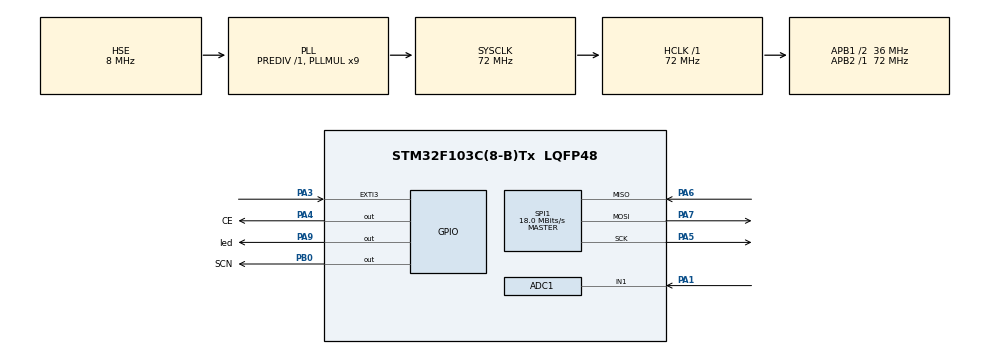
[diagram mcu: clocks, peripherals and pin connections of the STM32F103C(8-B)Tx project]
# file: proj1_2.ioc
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ADC1.Channel-0\#ChannelRegularConversion=ADC_CHANNEL_1
ADC1.NbrOfConversionFlag=1
ADC1.master=1
Mcu.Family=STM32F1
Mcu.Name=STM32F103C(8-B)Tx
Mcu.Package=LQFP48
NVIC.EXTI3_IRQn=true\:0\:0\:false\:false\:true\:true\:true
NVIC.PriorityGroup=NVIC_PRIORITYGROUP_4
PA1.Signal=ADCx_IN1
PA13.Mode=Trace_Asynchronous_SW
PA13.Signal=SYS_JTMS-SWDIO
PA14.Mode=Trace_Asynchronous_SW
PA14.Signal=SYS_JTCK-SWCLK
PA3.GPIO_ModeDefaultEXTI=GPIO_MODE_IT_FALLING
PA3.Signal=GPXTI3
PA4.GPIO_Label=CE
PA4.Signal=GPIO_Output
PA5.Mode=Full_Duplex_Master
PA5.Signal=SPI1_SCK
PA6.Mode=Full_Duplex_Master
PA6.Signal=SPI1_MISO
PA7.Mode=Full_Duplex_Master
PA7.Signal=SPI1_MOSI
PA9.GPIO_Label=led
PA9.Signal=GPIO_Output
PB0.GPIO_Label=SCN
PB0.Signal=GPIO_Output
PB3.Mode=Trace_Asynchronous_SW
PB3.Signal=SYS_JTDO-TRACESWO
PD0-OSC_IN.Mode=HSE-External-Oscillator
PD0-OSC_IN.Signal=RCC_OSC_IN
PD1-OSC_OUT.Mode=HSE-External-Oscillator
PD1-OSC_OUT.Signal=RCC_OSC_OUT
ProjectManager.HeapSize=0x200
ProjectManager.StackSize=0x400
ProjectManager.TargetToolchain=STM32CubeIDE
RCC.ADCPresc=RCC_ADCPCLK2_DIV6
RCC.AHBFreq_Value=72000000
RCC.APB1CLKDivider=RCC_HCLK_DIV2
RCC.APB1Freq_Value=36000000
RCC.APB1TimFreq_Value=72000000
RCC.APB2Freq_Value=72000000
RCC.APB2TimFreq_Value=72000000
RCC.HCLKFreq_Value=72000000
RCC.PLLMUL=RCC_PLL_MUL9
RCC.PLLSourceVirtual=RCC_PLLSOURCE_HSE
RCC.SYSCLKFreq_VALUE=72000000
RCC.SYSCLKSource=RCC_SYSCLKSOURCE_PLLCLK
RCC.USBFreq_Value=72000000
SH.ADCx_IN1.0=ADC1_IN1,IN1
SPI1.BaudRatePrescaler=SPI_BAUDRATEPRESCALER_4
SPI1.CalculateBaudRate=18.0 MBits/s
SPI1.Direction=SPI_DIRECTION_2LINES
SPI1.Mode=SPI_MODE_MASTER
SPI1.VirtualType=VM_MASTER
board=custom

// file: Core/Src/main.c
/* USER CODE BEGIN Header */
/**
  ******************************************************************************
  * @file           : main.c
  * @brief          : Main program body
  ******************************************************************************
  * @attention
  *
  * <h2><center>&copy; Copyright (c) 2024 STMicroelectronics.
  * All rights reserved.</center></h2>
  *
  * This software component is licensed by ST under BSD 3-Clause license,
  * the "License"; You may not use this file except in compliance with the
  * License. You may obtain a copy of the License at:
  *                        opensource.org/licenses/BSD-3-Clause
  *
  ******************************************************************************
  */
/* USER CODE END Header */
#include "main.h"
#include "adc.h"
#include "spi.h"
#include "gpio.h"

/* USER CODE BEGIN Includes */
#include "nrf24l01p.h"

/* USER CODE END Includes */

/* USER CODE BEGIN PD */
#define TRANSMITTER

/* USER CODE END PD */

/* USER CODE BEGIN PV */
//uint8_t rx_data[NRF24L01P_PAYLOAD_LENGTH] = {0};

uint8_t tx_data[NRF24L01P_PAYLOAD_LENGTH] = {0,0,0,0,0,0,0,0};
uint8_t temp = 0;

/* USER CODE END PV */

void SystemClock_Config(void);
/* USER CODE BEGIN PFP */
void HAL_GPIO_EXTI_Callback(uint16_t GPIO_Pin);
/* USER CODE END PFP */

int main(void)
{

  /* MCU Configuration--------------------------------------------------------*/

  /* Reset of all peripherals, Initializes the Flash interface and the Systick. */
  HAL_Init();

  /* Configure the system clock */
  SystemClock_Config();

  /* Initialize all configured peripherals */
  MX_GPIO_Init();
  MX_ADC1_Init();
  MX_SPI1_Init();
  /* USER CODE BEGIN 2 */

  nrf24l01p_tx_init(2500, _1Mbps);

  /* USER CODE END 2 */

  /* Infinite loop */
  while (1)
  {

    /* USER CODE BEGIN 3 */
      HAL_ADC_Start(&hadc1);
      HAL_ADC_PollForConversion(&hadc1, 1000);
      temp = HAL_ADC_GetValue(&hadc1);
      HAL_Delay(100);

      tx_data[0] = temp;
	  nrf24l01p_tx_transmit(tx_data);
	  HAL_GPIO_TogglePin(GPIOA, GPIO_PIN_9);
	  HAL_Delay(100);
  }
  /* USER CODE END 3 */
}

void SystemClock_Config(void)
{
  RCC_OscInitTypeDef RCC_OscInitStruct = {0};
  RCC_ClkInitTypeDef RCC_ClkInitStruct = {0};
  RCC_PeriphCLKInitTypeDef PeriphClkInit = {0};

  /** Initializes the RCC Oscillators according to the specified parameters
  * in the RCC_OscInitTypeDef structure.
  */
  RCC_OscInitStruct.OscillatorType = RCC_OSCILLATORTYPE_HSE;
  RCC_OscInitStruct.HSEState = RCC_HSE_ON;
  RCC_OscInitStruct.HSEPredivValue = RCC_HSE_PREDIV_DIV1;
  RCC_OscInitStruct.HSIState = RCC_HSI_ON;
  RCC_OscInitStruct.PLL.PLLState = RCC_PLL_ON;
  RCC_OscInitStruct.PLL.PLLSource = RCC_PLLSOURCE_HSE;
  RCC_OscInitStruct.PLL.PLLMUL = RCC_PLL_MUL9;
  if (HAL_RCC_OscConfig(&RCC_OscInitStruct) != HAL_OK)
  {
    Error_Handler();
  }
  /** Initializes the CPU, AHB and APB buses clocks
  */
  RCC_ClkInitStruct.ClockType = RCC_CLOCKTYPE_HCLK|RCC_CLOCKTYPE_SYSCLK
                              |RCC_CLOCKTYPE_PCLK1|RCC_CLOCKTYPE_PCLK2;
  RCC_ClkInitStruct.SYSCLKSource = RCC_SYSCLKSOURCE_PLLCLK;
  RCC_ClkInitStruct.AHBCLKDivider = RCC_SYSCLK_DIV1;
  RCC_ClkInitStruct.APB1CLKDivider = RCC_HCLK_DIV2;
  RCC_ClkInitStruct.APB2CLKDivider = RCC_HCLK_DIV1;

  if (HAL_RCC_ClockConfig(&RCC_ClkInitStruct, FLASH_LATENCY_2) != HAL_OK)
  {
    Error_Handler();
  }
  PeriphClkInit.PeriphClockSelection = RCC_PERIPHCLK_ADC;
  PeriphClkInit.AdcClockSelection = RCC_ADCPCLK2_DIV6;
  if (HAL_RCCEx_PeriphCLKConfig(&PeriphClkInit) != HAL_OK)
  {
    Error_Handler();
  }
}

/* USER CODE BEGIN 4 */
void HAL_GPIO_EXTI_Callback(uint16_t GPIO_Pin)
{
	if(GPIO_Pin == NRF24L01P_IRQ_PIN_NUMBER)
	{
		nrf24l01p_tx_irq();
	}

}
/* USER CODE END 4 */

void Error_Handler(void)
{
  __disable_irq();
  while (1)
  {
  }
}

/************************ (C) COPYRIGHT STMicroelectronics *****END OF FILE****/
